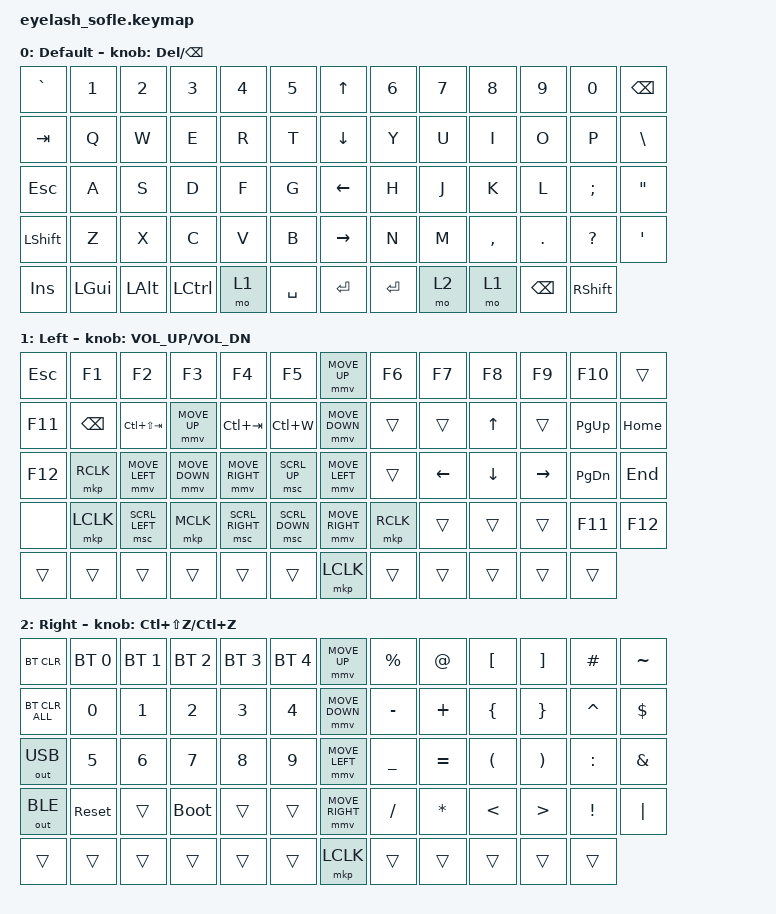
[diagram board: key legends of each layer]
#include <dt-bindings/zmk/mouse.h>
#include <input/processors.dtsi>
#include <behaviors.dtsi>
#include <dt-bindings/zmk/bt.h>
#include <dt-bindings/zmk/keys.h>
#include <dt-bindings/zmk/outputs.h>
#include <dt-bindings/zmk/pointing.h>

/*

   &mmv_input_listener {
       input-processors = <&zip_xy_scaler 2 1>;
   };

   &msc_input_listener {
       input-processors = <&zip_xy_scaler 2 1>;
   };

 */

#define ZMK_MOUSE_DEFAULT_MOVE_VAL 1200  // 600
#define ZMK_MOUSE_DEFAULT_SCRL_VAL 20    // 10

/ {
    behaviors {
        mmv {
            acceleration-exponent = <1>;      // 1
            time-to-max-speed-ms = <900>;    // 40
            delay-ms = <0>;                   // 0
        };

        msc {
            acceleration-exponent = <1>;      // 0
            time-to-max-speed-ms = <400>;      // 500
            delay-ms = <0>;                   //   10
        };
    };

    scroll_encoder: scroll_encoder {
        compatible = "zmk,behavior-sensor-rotate";
        #sensor-binding-cells = <0>;
        bindings = <&msc SCRL_DOWN>, <&msc SCRL_UP>;

        tap-ms = <30>;
    };

    keymap {
        compatible = "zmk,keymap";

        layer0 {
            display-name = "Default";
            bindings = <
&kp GRAVE   &kp N1    &kp N2    &kp N3     &kp N4  &kp N5       &kp UP_ARROW     &kp N6     &kp N7  &kp N8     &kp N9         &kp N0           &kp BACKSPACE
&kp TAB     &kp Q     &kp W     &kp E      &kp R   &kp T        &kp DOWN_ARROW   &kp Y      &kp U   &kp I      &kp O          &kp P            &kp BACKSLASH
&kp ESCAPE  &kp A     &kp S     &kp D      &kp F   &kp G        &kp LEFT_ARROW   &kp H      &kp J   &kp K      &kp L          &kp SEMI         &kp DOUBLE_QUOTES
&kp LSHIFT  &kp Z     &kp X     &kp C      &kp V   &kp B        &kp RIGHT_ARROW  &kp N      &kp M   &kp COMMA  &kp DOT        &kp QUESTION     &kp SINGLE_QUOTE
&kp INSERT  &kp LGUI  &kp LALT  &kp LCTRL  &mo 1   &kp SPACE    &kp ENTER        &kp ENTER  &mo 2   &mo 1      &kp BACKSPACE  &kp RIGHT_SHIFT
            >;

            sensor-bindings = <&inc_dec_kp DELETE BACKSPACE>;
        };

        layer_1 {
            bindings = <
&kp ESCAPE  &kp F1         &kp F2           &kp F3          &kp F4           &kp F5            &mmv MOVE_UP     &kp F6     &kp F7    &kp F8    &kp F9     &kp F10        &trans
&kp F11     &kp BACKSPACE  &kp LC(LS(TAB))  &mmv MOVE_UP    &kp LC(TAB)      &kp LC(W)         &mmv MOVE_DOWN   &trans     &trans    &kp UP    &trans     &kp PG_UP      &kp HOME
&kp F12     &mkp RCLK      &mmv MOVE_LEFT   &mmv MOVE_DOWN  &mmv MOVE_RIGHT  &msc SCRL_UP      &mmv MOVE_LEFT   &trans     &kp LEFT  &kp DOWN  &kp RIGHT  &kp PAGE_DOWN  &kp END
&none       &mkp LCLK      &msc SCRL_LEFT   &mkp MCLK       &msc SCRL_RIGHT  &msc SCRL_DOWN    &mmv MOVE_RIGHT  &mkp RCLK  &trans    &trans    &trans     &kp F11        &kp F12
&trans      &trans         &trans           &trans          &trans           &trans            &mkp LCLK        &trans     &trans    &trans    &trans     &trans
            >;

            display-name = "Left";
            sensor-bindings = <&inc_dec_kp C_VOL_UP C_VOL_DN>;
        };

        layer_2 {
            bindings = <
&bt BT_CLR      &bt BT_SEL 0  &bt BT_SEL 1  &bt BT_SEL 2  &bt BT_SEL 3  &bt BT_SEL 4    &mmv MOVE_UP     &kp PERCENT     &kp AT_SIGN   &kp LEFT_BRACKET      &kp RIGHT_BRACKET      &kp HASH         &kp TILDE
&bt BT_CLR_ALL  &kp NUMBER_0  &kp NUMBER_1  &kp NUMBER_2  &kp NUMBER_3  &kp NUMBER_4    &mmv MOVE_DOWN   &kp MINUS       &kp PLUS      &kp LEFT_BRACE        &kp RIGHT_BRACE        &kp CARET        &kp DOLLAR
&out OUT_USB    &kp NUMBER_5  &kp NUMBER_6  &kp NUMBER_7  &kp NUMBER_8  &kp NUMBER_9    &mmv MOVE_LEFT   &kp UNDERSCORE  &kp EQUAL     &kp LEFT_PARENTHESIS  &kp RIGHT_PARENTHESIS  &kp COLON        &kp AMPERSAND
&out OUT_BLE    &sys_reset    &trans        &bootloader   &trans        &trans          &mmv MOVE_RIGHT  &kp SLASH       &kp ASTERISK  &kp LESS_THAN         &kp GREATER_THAN       &kp EXCLAMATION  &kp PIPE
&trans          &trans        &trans        &trans        &trans        &trans          &mkp LCLK        &trans          &trans        &trans                &trans                 &trans
            >;

            display-name = "Right";
            sensor-bindings = <&inc_dec_kp LC(LS(Z)) LC(Z)>;
        };
    };
};
